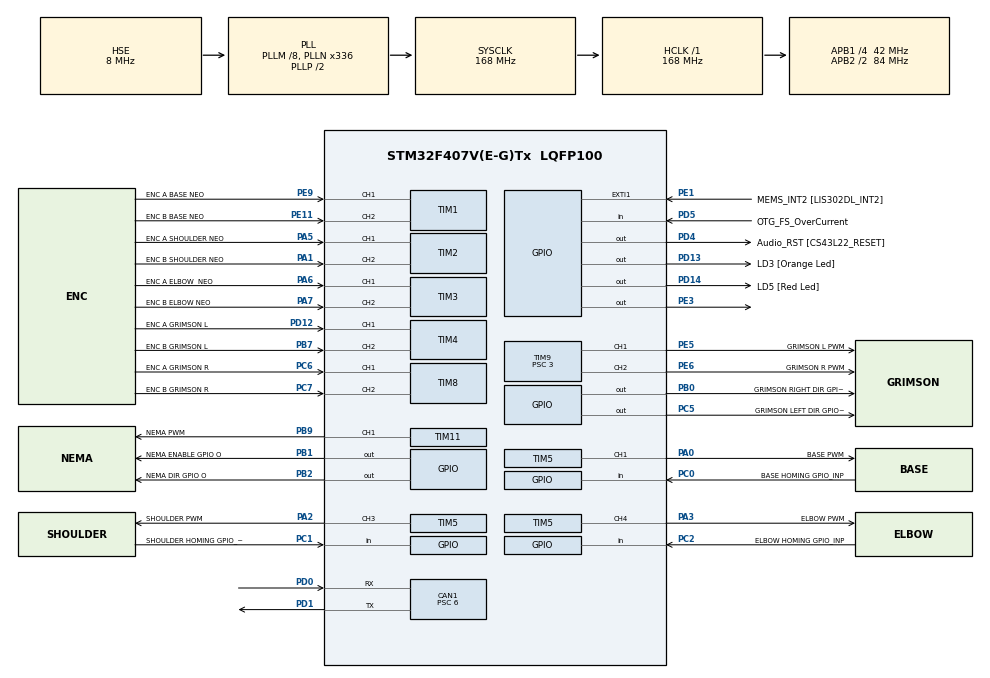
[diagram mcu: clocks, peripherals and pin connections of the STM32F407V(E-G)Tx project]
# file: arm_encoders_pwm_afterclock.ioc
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CAN1.BS1=CAN_BS1_12TQ
CAN1.CalculateBaudRate=500000
CAN1.CalculateTimeBit=2000
CAN1.CalculateTimeQuantum=142.85714285714286
CAN1.Prescaler=6
Mcu.Family=STM32F4
Mcu.Name=STM32F407V(E-G)Tx
Mcu.Package=LQFP100
NVIC.CAN1_RX0_IRQn=true\:0\:0\:false\:false\:true\:true\:true\:true
NVIC.PriorityGroup=NVIC_PRIORITYGROUP_0
PA0-WKUP.GPIO_Label=BASE PWM
PA0-WKUP.Signal=S_TIM5_CH1
PA1.GPIO_Label=ENC B SHOULDER NEO
PA1.Signal=S_TIM2_CH2
PA10.GPIO_Label=OTG_FS_ID
PA10.GPIO_Mode=GPIO_MODE_AF_PP
PA10.GPIO_PuPd=GPIO_NOPULL
PA10.GPIO_Speed=GPIO_SPEED_FREQ_LOW
PA10.Signal=USB_OTG_FS_ID
PA11.GPIO_Label=OTG_FS_DM
PA11.GPIO_Mode=GPIO_MODE_AF_PP
PA11.GPIO_PuPd=GPIO_NOPULL
PA11.GPIO_Speed=GPIO_SPEED_FREQ_LOW
PA11.Signal=USB_OTG_FS_DM
PA12.GPIO_Label=OTG_FS_DP
PA12.GPIO_Mode=GPIO_MODE_AF_PP
PA12.GPIO_PuPd=GPIO_NOPULL
PA12.GPIO_Speed=GPIO_SPEED_FREQ_LOW
PA12.Signal=USB_OTG_FS_DP
PA13.GPIO_Label=SWDIO
PA13.Mode=Serial_Wire
PA13.Signal=SYS_JTMS-SWDIO
PA14.GPIO_Label=SWCLK
PA14.Mode=Serial_Wire
PA14.Signal=SYS_JTCK-SWCLK
PA2.GPIO_Label=SHOULDER PWM
PA2.Signal=S_TIM5_CH3
PA3.GPIO_Label=ELBOW PWM
PA3.Signal=S_TIM5_CH4
PA5.GPIO_Label=ENC A SHOULDER NEO
PA5.Signal=S_TIM2_CH1_ETR
PA6.GPIO_Label=ENC A ELBOW  NEO
PA6.Signal=S_TIM3_CH1
PA7.GPIO_Label=ENC B ELBOW NEO
PA7.Signal=S_TIM3_CH2
PA9.GPIO_Label=VBUS_FS
PA9.GPIO_Mode=GPIO_MODE_INPUT
PA9.GPIO_PuPd=GPIO_NOPULL
PA9.Signal=USB_OTG_FS_VBUS
PB0.GPIO_Label=GRIMSON RIGHT DIR GPIO O
PB0.Signal=GPIO_Output
PB1.GPIO_Label=NEMA ENABLE GPIO O
PB1.PinState=GPIO_PIN_SET
PB1.Signal=GPIO_Output
PB2.GPIO_Label=NEMA DIR GPIO O
PB2.Signal=GPIO_Output
PB3.GPIO_Label=SWO
PB3.Signal=SYS_JTDO-SWO
PB6.GPIO_Label=Audio_SCL [CS43L22_SCL]
PB6.GPIO_Mode=GPIO_MODE_AF_OD
PB6.GPIO_Pu=GPIO_PULLUP
PB6.GPIO_PuPd=GPIO_NOPULL
PB6.GPIO_Speed=GPIO_SPEED_FREQ_LOW
PB6.Signal=I2C1_SCL
PB7.GPIO_Label=ENC B GRIMSON L
PB7.Signal=S_TIM4_CH2
PB9.GPIO_Label=NEMA PWM
PB9.Signal=S_TIM11_CH1
PC0.GPIO_Label=BASE HOMING GPIO_INP
PC0.GPIO_PuPd=GPIO_PULLDOWN
PC0.Signal=GPIO_Input
PC1.GPIO_Label=SHOULDER HOMING GPIO_INP
PC1.GPIO_PuPd=GPIO_PULLDOWN
PC1.Signal=GPIO_Input
PC14-OSC32_IN.GPIO_Label=PC14-OSC32_IN
PC14-OSC32_IN.Mode=LSE-External-Oscillator
PC14-OSC32_IN.Signal=RCC_OSC32_IN
PC15-OSC32_OUT.GPIO_Label=PC15-OSC32_OUT
PC15-OSC32_OUT.Mode=LSE-External-Oscillator
PC15-OSC32_OUT.Signal=RCC_OSC32_OUT
PC2.GPIO_Label=ELBOW HOMING GPIO_INP
PC2.GPIO_PuPd=GPIO_PULLDOWN
PC2.Signal=GPIO_Input
PC5.GPIO_Label=GRIMSON LEFT DIR GPIO O
PC5.Signal=GPIO_Output
PC6.GPIO_Label=ENC A GRIMSON R
PC6.Signal=S_TIM8_CH1
PC7.GPIO_Label=ENC B GRIMSON R
PC7.Signal=S_TIM8_CH2
PD0.Mode=CAN_Activate
PD0.Signal=CAN1_RX
PD1.Mode=CAN_Activate
PD1.Signal=CAN1_TX
PD12.GPIO_Label=ENC A GRIMSON L
PD12.Signal=S_TIM4_CH1
PD13.GPIO_Label=LD3 [Orange Led]
PD13.GPIO_PuPd=GPIO_NOPULL
PD13.GPIO_Speed=GPIO_SPEED_FREQ_LOW
PD13.Signal=GPIO_Output
PD14.GPIO_Label=LD5 [Red Led]
PD14.GPIO_PuPd=GPIO_NOPULL
PD14.GPIO_Speed=GPIO_SPEED_FREQ_LOW
PD14.Signal=GPIO_Output
PD4.GPIO_Label=Audio_RST [CS43L22_RESET]
PD4.GPIO_PuPd=GPIO_NOPULL
PD4.GPIO_Speed=GPIO_SPEED_FREQ_LOW
PD4.Signal=GPIO_Output
PD5.GPIO_Label=OTG_FS_OverCurrent
PD5.GPIO_Mode=GPIO_MODE_INPUT
PD5.GPIO_PuPd=GPIO_NOPULL
PD5.Signal=GPIO_Input
PE1.GPIO_Label=MEMS_INT2 [LIS302DL_INT2]
PE1.GPIO_ModeDefaultEXTI=GPIO_MODE_EVT_RISING
PE1.GPIO_PuPd=GPIO_NOPULL
PE1.Signal=GPXTI1
PE11.GPIO_Label=ENC B BASE NEO 
PE11.Signal=S_TIM1_CH2
PE3.Signal=GPIO_Output
PE5.GPIO_Label=GRIMSON L PWM
PE5.Signal=S_TIM9_CH1
PE6.GPIO_Label=GRIMSON R PWM
PE6.Signal=S_TIM9_CH2
PE9.GPIO_Label=ENC A BASE NEO
PE9.Signal=S_TIM1_CH1
PH0-OSC_IN.GPIO_Label=PH0-OSC_IN
PH0-OSC_IN.Mode=HSE-External-Oscillator
PH0-OSC_IN.Signal=RCC_OSC_IN
PH1-OSC_OUT.GPIO_Label=PH1-OSC_OUT
PH1-OSC_OUT.Mode=HSE-External-Oscillator
PH1-OSC_OUT.Signal=RCC_OSC_OUT
ProjectManager.HeapSize=0x200
ProjectManager.StackSize=0x400
ProjectManager.TargetToolchain=STM32CubeIDE
RCC.48MHZClocksFreq_Value=48000000
RCC.AHBFreq_Value=168000000
RCC.APB1CLKDivider=RCC_HCLK_DIV4
RCC.APB1Freq_Value=42000000
RCC.APB1TimFreq_Value=84000000
RCC.APB2CLKDivider=RCC_HCLK_DIV2
RCC.APB2Freq_Value=84000000
RCC.APB2TimFreq_Value=168000000
RCC.CortexFreq_Value=168000000
RCC.HCLKFreq_Value=168000000
RCC.HSE_VALUE=8000000
RCC.HSI_VALUE=16000000
RCC.PLLM=8
RCC.PLLN=336
RCC.PLLQ=7
RCC.PLLSourceVirtual=RCC_PLLSOURCE_HSE
RCC.SYSCLKFreq_VALUE=168000000
RCC.SYSCLKSource=RCC_SYSCLKSOURCE_PLLCLK
RCC.VCOOutputFreq_Value=336000000
SH.S_TIM11_CH1.0=TIM11_CH1,PWM Generation1 CH1
SH.S_TIM1_CH1.0=TIM1_CH1,Encoder_Interface
SH.S_TIM1_CH2.0=TIM1_CH2,Encoder_Interface
SH.S_TIM2_CH1_ETR.0=TIM2_CH1,Encoder_Interface
SH.S_TIM2_CH2.0=TIM2_CH2,Encoder_Interface
SH.S_TIM3_CH1.0=TIM3_CH1,Encoder_Interface
SH.S_TIM3_CH2.0=TIM3_CH2,Encoder_Interface
SH.S_TIM4_CH1.0=TIM4_CH1,Encoder_Interface
SH.S_TIM4_CH2.0=TIM4_CH2,Encoder_Interface
SH.S_TIM5_CH1.0=TIM5_CH1,PWM Generation1 CH1
SH.S_TIM5_CH3.0=TIM5_CH3,PWM Generation3 CH3
SH.S_TIM5_CH4.0=TIM5_CH4,PWM Generation4 CH4
SH.S_TIM8_CH1.0=TIM8_CH1,Encoder_Interface
SH.S_TIM8_CH2.0=TIM8_CH2,Encoder_Interface
SH.S_TIM9_CH1.0=TIM9_CH1,PWM Generation1 CH1
SH.S_TIM9_CH2.0=TIM9_CH2,PWM Generation2 CH2
TIM1.EncoderMode=TIM_ENCODERMODE_TI12
TIM11.AutoReloadPreload=TIM_AUTORELOAD_PRELOAD_ENABLE
TIM11.Channel=TIM_CHANNEL_1
TIM11.Period=999
TIM11.Prescaler=83
TIM11.Pulse=500
TIM2.EncoderMode=TIM_ENCODERMODE_TI12
TIM3.EncoderMode=TIM_ENCODERMODE_TI12
TIM4.EncoderMode=TIM_ENCODERMODE_TI12
TIM5.Channel-PWM\ Generation1\ CH1=TIM_CHANNEL_1
TIM5.Channel-PWM\ Generation3\ CH3=TIM_CHANNEL_3
TIM5.Channel-PWM\ Generation4\ CH4=TIM_CHANNEL_4
TIM5.Prescaler=83
TIM8.EncoderMode=TIM_ENCODERMODE_TI12
TIM9.Channel-PWM\ Generation1\ CH1=TIM_CHANNEL_1
TIM9.Channel-PWM\ Generation2\ CH2=TIM_CHANNEL_2
TIM9.Period=1049
TIM9.Prescaler=3
VP_TIM11_VS_ClockSourceINT.Mode=Enable_Timer
board=STM32F407G-DISC1

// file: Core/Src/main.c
/* USER CODE BEGIN Header */
/* USER CODE END Header */
#include "main.h"

/* USER CODE BEGIN Includes */
#include <string.h>
#include <math.h>
/* USER CODE END Includes */

CAN_HandleTypeDef hcan1;

TIM_HandleTypeDef htim1;
TIM_HandleTypeDef htim2;
TIM_HandleTypeDef htim3;
TIM_HandleTypeDef htim4;
TIM_HandleTypeDef htim5;
TIM_HandleTypeDef htim8;
TIM_HandleTypeDef htim9;
TIM_HandleTypeDef htim11;

void SystemClock_Config(void);
static void MX_GPIO_Init(void);
static void MX_CAN1_Init(void);
static void MX_TIM1_Init(void);
static void MX_TIM2_Init(void);
static void MX_TIM3_Init(void);
static void MX_TIM4_Init(void);
static void MX_TIM8_Init(void);
static void MX_TIM5_Init(void);
static void MX_TIM9_Init(void);
static void MX_TIM11_Init(void);

/* USER CODE BEGIN 0 */
// ========== ENUMERATIONS ==========
typedef enum {
  HOMING_IDLE,
  HOMING_IN_PROGRESS,
  HOMING_COMPLETE,
  HOMING_ERROR
} HomingState_t;

typedef enum {
  MOTOR_SPARK_MAX_PWM,
  MOTOR_H_BRIDGE,
  MOTOR_STEPPER
} MotorType_t;

typedef enum {
  MOTOR_MODE_IDLE,
  MOTOR_MODE_VELOCITY,
  MOTOR_MODE_POSITION,
  MOTOR_MODE_MANUAL
} MotorMode_t;

// ========== STRUCTURES ==========
typedef struct {
  int32_t velocity;
  int64_t position;
  int64_t home_position;
  uint32_t last_counter;
  TIM_HandleTypeDef *htim;

  // Index pulse homing parameters (ENC I)
  GPIO_TypeDef *index_port;
  uint16_t index_pin;
  HomingState_t homing_state;
  uint32_t homing_start_time;
  uint32_t homing_timeout_ms;

  // Index pulse detection
  uint8_t is_homed;
  uint8_t index_detected;
  uint8_t last_index_state;
  uint32_t index_pulse_count;

  char name[16];
  uint8_t enabled;
} Encoder_t;

typedef struct {
  MotorType_t type;
  MotorMode_t mode;

  // PWM Control
  TIM_HandleTypeDef *pwm_tim;
  uint32_t pwm_channel;

  // Direction Control (H-Bridge & Stepper)
  GPIO_TypeDef *dir_port;
  uint16_t dir_pin;

  // Enable Control (Stepper only)
  GPIO_TypeDef *enable_port;
  uint16_t enable_pin;

  // Control Parameters
  int32_t target_position;
  int16_t target_velocity;    // -1000 to +1000 (scaled)
  int16_t current_output;     // Current motor output

  // Position Control (PID)
  float kp, ki, kd;
  float error_sum;
  int32_t last_error;

  // Safety Limits
  int32_t min_position;
  int32_t max_position;
  int16_t max_velocity;

  // Stepper specific
  uint32_t step_count;
  uint32_t target_steps;
  uint16_t step_frequency;
  uint8_t is_moving;

  uint8_t enabled;
  char name[16];
} Motor_t;

// ========== GLOBAL ARRAYS ==========
Motor_t motors[6] = {
  // Base - NEO via Spark Max (TIM5_CH1, PA0)
  {MOTOR_SPARK_MAX_PWM, MOTOR_MODE_IDLE, &htim5, TIM_CHANNEL_1, NULL, 0, NULL, 0,
   0, 0, 0, 2.0f, 0.1f, 0.5f, 0, 0, -100000, 100000, 800, 0, 0, 1000, 0, 1, "Base"},

  // Shoulder - NEO via Spark Max (TIM5_CH3, PA2)
  {MOTOR_SPARK_MAX_PWM, MOTOR_MODE_IDLE, &htim5, TIM_CHANNEL_3, NULL, 0, NULL, 0,
   0, 0, 0, 2.0f, 0.1f, 0.5f, 0, 0, -80000, 80000, 800, 0, 0, 1000, 0, 1, "Shoulder"},

  // Elbow - NEO via Spark Max (TIM5_CH4, PA3)
  {MOTOR_SPARK_MAX_PWM, MOTOR_MODE_IDLE, &htim5, TIM_CHANNEL_4, NULL, 0, NULL, 0,
   0, 0, 0, 2.0f, 0.1f, 0.5f, 0, 0, -90000, 90000, 800, 0, 0, 1000, 0, 1, "Elbow"},

  // Wrist1 - Grimson via H-Bridge (TIM9_CH1, PE5 + PC5 direction)
  {MOTOR_H_BRIDGE, MOTOR_MODE_IDLE, &htim9, TIM_CHANNEL_1, GPIOC, GPIO_PIN_5, NULL, 0,
   0, 0, 0, 1.5f, 0.05f, 0.3f, 0, 0, -50000, 50000, 600, 0, 0, 1000, 0, 1, "Wrist1"},

  // Wrist2 - Grimson via H-Bridge (TIM9_CH2, PE6 + PB0 direction)
  {MOTOR_H_BRIDGE, MOTOR_MODE_IDLE, &htim9, TIM_CHANNEL_2, GPIOB, GPIO_PIN_0, NULL, 0,
   0, 0, 0, 1.5f, 0.05f, 0.3f, 0, 0, -50000, 50000, 600, 0, 0, 1000, 0, 1, "Wrist2"},

  // End Effector - Stepper (TIM11_CH1, PB9 + PB2 direction + PB1 enable)
  {MOTOR_STEPPER, MOTOR_MODE_IDLE, &htim11, TIM_CHANNEL_1, GPIOB, GPIO_PIN_2, GPIOB, GPIO_PIN_1,
   0, 0, 0, 0, 0, 0, 0, 0, -10000, 10000, 200, 0, 0, 1000, 0, 1, "Stepper"}
};

Encoder_t encoders[5] = {
  {0, 0, 0, 0, &htim1, GPIOC, GPIO_PIN_0, HOMING_IDLE, 0, 10000, 0, 0, 0, 0, "Base", 1},
  {0, 0, 0, 0, &htim2, GPIOC, GPIO_PIN_1, HOMING_IDLE, 0, 10000, 0, 0, 0, 0, "Shoulder", 1},
  {0, 0, 0, 0, &htim3, GPIOC, GPIO_PIN_2, HOMING_IDLE, 0, 10000, 0, 0, 0, 0, "Elbow", 1},
  {0, 0, 0, 0, &htim4, NULL, 0, HOMING_IDLE, 0, 10000, 0, 0, 0, 0, "Wrist1", 1},
  {0, 0, 0, 0, &htim8, NULL, 0, HOMING_IDLE, 0, 10000, 0, 0, 0, 0, "Wrist2", 1}
};

// ========== GLOBAL VARIABLES ==========
CAN_TxHeaderTypeDef TxHeader;
uint8_t TxData[8];
uint32_t TxMailbox;

uint32_t last_encoder_send = 0;
uint32_t last_status_send = 0;
uint32_t last_debug_send = 0;
uint32_t last_motor_update = 0;
uint32_t last_motor_status_send = 0;

// Add missing global variables
uint32_t last_watchdog_reset = 0;
uint8_t system_initialized = 0;
uint8_t can_error_count = 0;
uint8_t emergency_stop_active = 0;

// ========== FUNCTION PROTOTYPES ==========
void SystemInit_RobotArm(void);
void MainControlLoop(void);
void InitializeMotors(void);
void InitializeEncoders(void);
void InitializeCAN(void);
void SetMotorOutput(uint8_t motor_id, int16_t output);
int32_t CalculatePID(Motor_t *motor, int32_t current_position);
void UpdateMotor(uint8_t motor_id);
void SetMotorVelocity(uint8_t motor_id, int16_t velocity);
void SetMotorPosition(uint8_t motor_id, int32_t position);
void SetStepperFrequency(uint16_t frequency_hz);
void MoveStepperSteps(int32_t steps, uint16_t frequency);
void EmergencyStopAllMotors(void);
void ClearEmergencyStop(void);
void SendMotorStatus(void);
void UpdateEncoder(Encoder_t *enc);
void UpdateIndexPulse(Encoder_t *enc);
void StartHoming(uint8_t encoder_id);
void ProcessHoming(uint8_t encoder_id);
void SendEncoderData(uint8_t encoder_id, Encoder_t *enc);
void SendSystemStatus(void);
void SendDebugInfo(void);

// New debug functions for Motor 0
void TestMotor0PWM(void);
void DebugMotor0(void);
void VerifyTIM5_Config(void);
void Force_TIM5_Init(void);

// ========== MOTOR CONTROL FUNCTIONS ==========
void InitializeMotors(void) {
    // Force proper TIM5 initialization first
    Force_TIM5_Init();

    // Start PWM timers for motor control
    HAL_TIM_PWM_Start(&htim5, TIM_CHANNEL_1);  // Base NEO
    HAL_TIM_PWM_Start(&htim5, TIM_CHANNEL_3);  // Shoulder NEO
    HAL_TIM_PWM_Start(&htim5, TIM_CHANNEL_4);  // Elbow NEO
    HAL_TIM_PWM_Start(&htim9, TIM_CHANNEL_1);  // Wrist1 Grimson
    HAL_TIM_PWM_Start(&htim9, TIM_CHANNEL_2);  // Wrist2 Grimson
    HAL_TIM_PWM_Start_IT(&htim11, TIM_CHANNEL_1); // Stepper with interrupt for step counting

    // Initialize all motors to safe states
    for(int i = 0; i < 6; i++) {
        SetMotorOutput(i, 0);
        motors[i].error_sum = 0;
        motors[i].last_error = 0;
    }

    // Set all NEO motors to neutral position
    __HAL_TIM_SET_COMPARE(&htim5, TIM_CHANNEL_1, 1500);  // Motor 0
    __HAL_TIM_SET_COMPARE(&htim5, TIM_CHANNEL_3, 1500);  // Motor 1
    __HAL_TIM_SET_COMPARE(&htim5, TIM_CHANNEL_4, 1500);  // Motor 2
}

void SetMotorOutput(uint8_t motor_id, int16_t output) {
    if (motor_id >= 6 || !motors[motor_id].enabled || emergency_stop_active) return;

    Motor_t *motor = &motors[motor_id];

    // Apply velocity limits
    if (output > motor->max_velocity) output = motor->max_velocity;
    if (output < -motor->max_velocity) output = -motor->max_velocity;

    motor->current_output = output;

    switch(motor->type) {
        case MOTOR_SPARK_MAX_PWM:
            {
                // NEO Motor: 50Hz PWM servo signal (1000-2000μs)
                // Map -1000:+1000 input to 1000-2000μs pulse width
                int32_t pulse_width = 1500 + (output * 500 / 1000);

                // Clamp to safe range
                if (pulse_width < 1000) pulse_width = 1000;
                if (pulse_width > 2000) pulse_width = 2000;

                // Set compare value (TIM5 ARR should be 19999 for 50Hz)
                __HAL_TIM_SET_COMPARE(motor->pwm_tim, motor->pwm_channel, pulse_width);
            }
            break;

        case MOTOR_H_BRIDGE:
            {
                // H-Bridge: PWM + Direction (20kHz)
                uint16_t pwm_value = (output < 0) ? -output : output;
                pwm_value = (pwm_value > 1000) ? 1000 : pwm_value;

                // Set direction pin
                HAL_GPIO_WritePin(motor->dir_port, motor->dir_pin, (output >= 0) ? GPIO_PIN_SET : GPIO_PIN_RESET);

                // Set PWM duty cycle (TIM9 ARR = 1049 for 20kHz)
                uint32_t compare_value = (pwm_value * 1049) / 1000;
                __HAL_TIM_SET_COMPARE(motor->pwm_tim, motor->pwm_channel, compare_value);
            }
            break;

        case MOTOR_STEPPER:
            {
                // Stepper: Set direction and enable/disable
                if (motor->dir_port != NULL) {
                    HAL_GPIO_WritePin(motor->dir_port, motor->dir_pin, (output >= 0) ? GPIO_PIN_SET : GPIO_PIN_RESET);
                }

                if (output != 0 && motor->enable_port != NULL) {
                    // Enable stepper (active LOW)
                    HAL_GPIO_WritePin(motor->enable_port, motor->enable_pin, GPIO_PIN_RESET);

                    // Set PWM for step generation
                    uint16_t arr = __HAL_TIM_GET_AUTORELOAD(motor->pwm_tim);
                    __HAL_TIM_SET_COMPARE(motor->pwm_tim, motor->pwm_channel, arr / 2);
                } else if (motor->enable_port != NULL) {
                    // Disable stepper and stop PWM
                    HAL_GPIO_WritePin(motor->enable_port, motor->enable_pin, GPIO_PIN_SET);
                    __HAL_TIM_SET_COMPARE(motor->pwm_tim, motor->pwm_channel, 0);
                }
            }
            break;
    }
}

int32_t CalculatePID(Motor_t *motor, int32_t current_position) {
    int32_t error = motor->target_position - current_position;
    motor->error_sum += error;

    // Anti-windup
    if (motor->error_sum > 50000) motor->error_sum = 50000;
    if (motor->error_sum < -50000) motor->error_sum = -50000;

    int32_t derivative = error - motor->last_error;
    motor->last_error = error;

    float output = motor->kp * error + motor->ki * motor->error_sum + motor->kd * derivative;

    // Limit output
    if (output > 1000) output = 1000;
    if (output < -1000) output = -1000;

    return (int32_t)output;
}

void UpdateMotor(uint8_t motor_id) {
    if (motor_id >= 6 || !motors[motor_id].enabled) return;

    Motor_t *motor = &motors[motor_id];
    int32_t current_position = 0;

    // Get encoder feedback (if available)
    if (motor_id < 5) {
        current_position = encoders[motor_id].position;

        // Check position limits
        if (current_position < motor->min_position || current_position > motor->max_position) {
            // Position limit reached - stop motor
            motor->mode = MOTOR_MODE_IDLE;
            SetMotorOutput(motor_id, 0);
            return;
        }
    }

    switch(motor->mode) {
        case MOTOR_MODE_IDLE:
            SetMotorOutput(motor_id, 0);
            break;

        case MOTOR_MODE_VELOCITY:
            SetMotorOutput(motor_id, motor->target_velocity);
            break;

        case MOTOR_MODE_POSITION:
            {
                int32_t pid_output = CalculatePID(motor, current_position);
                SetMotorOutput(motor_id, (int16_t)pid_output);
            }
            break;

        case MOTOR_MODE_MANUAL:
            // Manual mode - output set directly via CAN commands
            break;
    }

    // Update stepper step counting
    if (motor_id == 5 && motor->type == MOTOR_STEPPER && motor->is_moving) {
        if (motor->step_count >= motor->target_steps) {
            motor->is_moving = 0;
            SetMotorOutput(5, 0);
        }
    }
}

void SetMotorVelocity(uint8_t motor_id, int16_t velocity) {
    if (motor_id >= 6) return;
    motors[motor_id].mode = MOTOR_MODE_VELOCITY;
    motors[motor_id].target_velocity = velocity;
}

void SetMotorPosition(uint8_t motor_id, int32_t position) {
    if (motor_id >= 6) return;
    motors[motor_id].mode = MOTOR_MODE_POSITION;
    motors[motor_id].target_position = position;
    motors[motor_id].error_sum = 0;  // Reset integral term
}

void SetStepperFrequency(uint16_t frequency_hz) {
    if (frequency_hz < 10) frequency_hz = 10;
    if (frequency_hz > 10000) frequency_hz = 10000;

    // Calculate ARR for desired frequency (1MHz timer clock)
    uint16_t arr_value = (1000000 / frequency_hz) - 1;

    __HAL_TIM_SET_AUTORELOAD(&htim11, arr_value);
    __HAL_TIM_SET_COMPARE(&htim11, TIM_CHANNEL_1, arr_value / 2);

    motors[5].step_frequency = frequency_hz;
}

void MoveStepperSteps(int32_t steps, uint16_t frequency) {
    if (steps == 0) return;

    Motor_t *stepper = &motors[5];

    // Set frequency and direction
    SetStepperFrequency(frequency);
    stepper->target_steps = (steps > 0) ? steps : -steps;
    stepper->step_count = 0;
    stepper->is_moving = 1;

    // Set direction and enable
    SetMotorOutput(5, (steps > 0) ? 500 : -500);
}

void EmergencyStopAllMotors(void) {
    emergency_stop_active = 1;
    for(int i = 0; i < 6; i++) {
        motors[i].mode = MOTOR_MODE_IDLE;
        SetMotorOutput(i, 0);
    }
}

void ClearEmergencyStop(void) {
    emergency_stop_active = 0;
}

void SendMotorStatus(void) {
    TxHeader.StdId = 0x210;
    TxHeader.IDE = CAN_ID_STD;
    TxHeader.RTR = CAN_RTR_DATA;
    TxHeader.DLC = 8;

    for (int i = 0; i < 6; i++) {
        TxData[i] = (motors[i].mode << 4) |
                    (motors[i].enabled << 3) |
                    ((motors[i].current_output > 0) << 2) |
                    ((motors[i].current_output < 0) << 1) |
                    (motors[i].is_moving);
    }
    TxData[6] = emergency_stop_active ? 0xFF : 0xBB;  // Motor status marker
    TxData[7] = 0xCC;

    HAL_CAN_AddTxMessage(&hcan1, &TxHeader, TxData, &TxMailbox);
}

// ========== ENCODER FUNCTIONS ==========
void InitializeEncoders(void) {
    // Start encoder timers in encoder mode
    HAL_TIM_Encoder_Start(&htim1, TIM_CHANNEL_ALL);  // Base
    HAL_TIM_Encoder_Start(&htim2, TIM_CHANNEL_ALL);  // Shoulder
    HAL_TIM_Encoder_Start(&htim3, TIM_CHANNEL_ALL);  // Elbow
    HAL_TIM_Encoder_Start(&htim4, TIM_CHANNEL_ALL);  // Wrist1
    HAL_TIM_Encoder_Start(&htim8, TIM_CHANNEL_ALL);  // Wrist2

    // Initialize encoder positions
    for (int i = 0; i < 5; i++) {
        encoders[i].last_counter = __HAL_TIM_GET_COUNTER(encoders[i].htim);
        encoders[i].position = 0;
        encoders[i].velocity = 0;
    }
}

void UpdateEncoder(Encoder_t *enc) {
  if (!enc->enabled) return;

  uint32_t current = __HAL_TIM_GET_COUNTER(enc->htim);

  int32_t delta;
  if (enc->htim->Instance == TIM2) {
    // TIM2 is 32-bit timer
    delta = (int32_t)(current - enc->last_counter);
  } else {
    // 16-bit timers
    delta = (int16_t)(current - enc->last_counter);
  }

  enc->last_counter = current;
  enc->velocity = delta;
  enc->position += delta;
}

void UpdateIndexPulse(Encoder_t *enc) {
  if (!enc->enabled || enc->index_port == NULL) return;

  GPIO_PinState pin_state = HAL_GPIO_ReadPin(enc->index_port, enc->index_pin);
  uint8_t current_index = (pin_state == GPIO_PIN_SET) ? 1 : 0;

  if (current_index && !enc->last_index_state) {
    enc->index_detected = 1;
    enc->index_pulse_count++;

    if (enc->homing_state == HOMING_IN_PROGRESS) {
      enc->home_position = enc->position;
      enc->position = 0;
      enc->homing_state = HOMING_COMPLETE;
      enc->is_homed = 1;
    }
  } else {
    enc->index_detected = 0;
  }

  enc->last_index_state = current_index;
}

void StartHoming(uint8_t encoder_id) {
  if (encoder_id >= 5) return;

  Encoder_t *enc = &encoders[encoder_id];
  if (!enc->enabled || enc->index_port == NULL || enc->is_homed) return;

  enc->homing_state = HOMING_IN_PROGRESS;
  enc->homing_start_time = HAL_GetTick();
  enc->is_homed = 0;
  enc->index_pulse_count = 0;

  // Set motor to slow velocity mode for homing
  SetMotorVelocity(encoder_id, 100);  // Slow positive velocity
}

void ProcessHoming(uint8_t encoder_id) {
  if (encoder_id >= 5) return;

  Encoder_t *enc = &encoders[encoder_id];
  if (!enc->enabled || enc->homing_state != HOMING_IN_PROGRESS) return;

  if (HAL_GetTick() - enc->homing_start_time > enc->homing_timeout_ms) {
    enc->homing_state = HOMING_ERROR;
    motors[encoder_id].mode = MOTOR_MODE_IDLE;
    SetMotorOutput(encoder_id, 0);
  }
}

void SendEncoderData(uint8_t encoder_id, Encoder_t *enc) {
  if (!enc->enabled) return;

  int32_t pos = (int32_t)(enc->position & 0xFFFFFFFF);
  int32_t vel = enc->velocity;

  TxHeader.StdId = 0x100 + encoder_id;
  TxHeader.IDE = CAN_ID_STD;
  TxHeader.RTR = CAN_RTR_DATA;
  TxHeader.DLC = 8;

  TxData[0] = (pos >> 24) & 0xFF;
  TxData[1] = (pos >> 16) & 0xFF;
  TxData[2] = (pos >> 8) & 0xFF;
  TxData[3] = pos & 0xFF;

  TxData[4] = (vel >> 24) & 0xFF;
  TxData[5] = (vel >> 16) & 0xFF;
  TxData[6] = (vel >> 8) & 0xFF;
  TxData[7] = vel & 0xFF;

  HAL_CAN_AddTxMessage(&hcan1, &TxHeader, TxData, &TxMailbox);
}

void SendSystemStatus(void) {
  TxHeader.StdId = 0x200;
  TxHeader.IDE = CAN_ID_STD;
  TxHeader.RTR = CAN_RTR_DATA;
  TxHeader.DLC = 8;

  for (int i = 0; i < 5; i++) {
    TxData[i] = (encoders[i].homing_state << 4) |
                (encoders[i].is_homed << 3) |
                (encoders[i].index_detected << 2) |
                (encoders[i].enabled << 1);
  }
  TxData[5] = 0xAA;  // Heartbeat
  TxData[6] = encoders[0].index_pulse_count & 0xFF;
  TxData[7] = 0x55;  // Status marker

  HAL_CAN_AddTxMessage(&hcan1, &TxHeader, TxData, &TxMailbox);
}

void SendDebugInfo(void) {
  Encoder_t *enc = &encoders[0];
  if (!enc->enabled) return;

  TxHeader.StdId = 0x201;
  TxHeader.IDE = CAN_ID_STD;
  TxHeader.RTR = CAN_RTR_DATA;
  TxHeader.DLC = 8;

  uint32_t raw_timer = __HAL_TIM_GET_COUNTER(enc->htim);
  uint8_t index_pin_state = HAL_GPIO_ReadPin(enc->index_port, enc->index_pin);

  TxData[0] = (raw_timer >> 8) & 0xFF;
  TxData[1] = raw_timer & 0xFF;
  TxData[2] = index_pin_state;
  TxData[3] = enc->last_index_state;
  TxData[4] = enc->homing_state;
  TxData[5] = (enc->index_pulse_count >> 8) & 0xFF;
  TxData[6] = enc->index_pulse_count & 0xFF;
  TxData[7] = enc->enabled;

  HAL_CAN_AddTxMessage(&hcan1, &TxHeader, TxData, &TxMailbox);
}

// ========== CAN FUNCTIONS ==========
void InitializeCAN(void) {
    CAN_FilterTypeDef sFilterConfig;

    // Configure CAN filter
    sFilterConfig.FilterBank = 0;
    sFilterConfig.FilterMode = CAN_FILTERMODE_IDMASK;
    sFilterConfig.FilterScale = CAN_FILTERSCALE_32BIT;
    sFilterConfig.FilterIdHigh = 0x0000;
    sFilterConfig.FilterIdLow = 0x0000;
    sFilterConfig.FilterMaskIdHigh = 0x0000;
    sFilterConfig.FilterMaskIdLow = 0x0000;
    sFilterConfig.FilterFIFOAssignment = CAN_RX_FIFO0;
    sFilterConfig.FilterActivation = ENABLE;
    sFilterConfig.SlaveStartFilterBank = 14;

    if (HAL_CAN_ConfigFilter(&hcan1, &sFilterConfig) != HAL_OK) {
        Error_Handler();
    }

    // Start CAN
    if (HAL_CAN_Start(&hcan1) != HAL_OK) {
        Error_Handler();
    }

    // Activate CAN RX notification
    if (HAL_CAN_ActivateNotification(&hcan1, CAN_IT_RX_FIFO0_MSG_PENDING) != HAL_OK) {
        Error_Handler();
    }
}

// ========== DEBUG FUNCTIONS FOR MOTOR 0 ==========
void TestMotor0PWM(void) {
    // Test 1: Direct GPIO toggle
    GPIO_InitTypeDef GPIO_InitStruct = {0};

    // Configure PA0 as GPIO output first
    HAL_TIM_PWM_Stop(&htim5, TIM_CHANNEL_1);

    GPIO_InitStruct.Pin = GPIO_PIN_0;
    GPIO_InitStruct.Mode = GPIO_MODE_OUTPUT_PP;
    GPIO_InitStruct.Pull = GPIO_NOPULL;
    GPIO_InitStruct.Speed = GPIO_SPEED_FREQ_HIGH;
    HAL_GPIO_Init(GPIOA, &GPIO_InitStruct);

    // Toggle PA0 manually
    for(int i = 0; i < 10; i++) {
        HAL_GPIO_WritePin(GPIOA, GPIO_PIN_0, GPIO_PIN_SET);
        HAL_Delay(100);
        HAL_GPIO_WritePin(GPIOA, GPIO_PIN_0, GPIO_PIN_RESET);
        HAL_Delay(100);
    }

    // Reconfigure for PWM
    GPIO_InitStruct.Mode = GPIO_MODE_AF_PP;
    GPIO_InitStruct.Alternate = GPIO_AF2_TIM5;
    HAL_GPIO_Init(GPIOA, &GPIO_InitStruct);

    // Restart PWM
    HAL_TIM_PWM_Start(&htim5, TIM_CHANNEL_1);
}

void DebugMotor0(void) {
    // Send comprehensive motor 0 status
    TxHeader.StdId = 0x380;
    TxHeader.IDE = CAN_ID_STD;
    TxHeader.RTR = CAN_RTR_DATA;
    TxHeader.DLC = 8;

    // Get timer values
    uint16_t tim5_cnt = __HAL_TIM_GET_COUNTER(&htim5);
    uint16_t tim5_arr = __HAL_TIM_GET_AUTORELOAD(&htim5);
    uint16_t tim5_ccr1 = __HAL_TIM_GET_COMPARE(&htim5, TIM_CHANNEL_1);

    TxData[0] = motors[0].enabled;
    TxData[1] = motors[0].mode;
    TxData[2] = (motors[0].current_output >> 8) & 0xFF;
    TxData[3] = motors[0].current_output & 0xFF;
    TxData[4] = (tim5_ccr1 >> 8) & 0xFF;
    TxData[5] = tim5_ccr1 & 0xFF;
    TxData[6] = (tim5_arr >> 8) & 0xFF;
    TxData[7] = tim5_arr & 0xFF;

    HAL_CAN_AddTxMessage(&hcan1, &TxHeader, TxData, &TxMailbox);
}

void VerifyTIM5_Config(void) {
    // Check if TIM5 is running
    if (__HAL_TIM_GET_COUNTER(&htim5) == 0) {
        // Timer not running - restart it
        HAL_TIM_PWM_Stop(&htim5, TIM_CHANNEL_1);
        HAL_TIM_PWM_Stop(&htim5, TIM_CHANNEL_3);
        HAL_TIM_PWM_Stop(&htim5, TIM_CHANNEL_4);

        // Reinitialize
        MX_TIM5_Init();

        // Start all channels
        HAL_TIM_PWM_Start(&htim5, TIM_CHANNEL_1);
        HAL_TIM_PWM_Start(&htim5, TIM_CHANNEL_3);
        HAL_TIM_PWM_Start(&htim5, TIM_CHANNEL_4);
    }

    // Set neutral position on all NEO motors
    __HAL_TIM_SET_COMPARE(&htim5, TIM_CHANNEL_1, 1500);  // Motor 0
    __HAL_TIM_SET_COMPARE(&htim5, TIM_CHANNEL_3, 1500);  // Motor 1
    __HAL_TIM_SET_COMPARE(&htim5, TIM_CHANNEL_4, 1500);  // Motor 2
}

void Force_TIM5_Init(void) {
    // Manually initialize TIM5 for PWM with correct settings

    // Stop the timer first
    HAL_TIM_PWM_Stop(&htim5, TIM_CHANNEL_1);
    HAL_TIM_PWM_Stop(&htim5, TIM_CHANNEL_3);
    HAL_TIM_PWM_Stop(&htim5, TIM_CHANNEL_4);

    // Reconfigure with correct period
    htim5.Init.Prescaler = 83;          // 84MHz/84 = 1MHz
    htim5.Init.Period = 19999;          // 1MHz/20000 = 50Hz (THIS IS THE FIX!)
    htim5.Init.CounterMode = TIM_COUNTERMODE_UP;
    htim5.Init.ClockDivision = TIM_CLOCKDIVISION_DIV1;
    htim5.Init.AutoReloadPreload = TIM_AUTORELOAD_PRELOAD_ENABLE;

    if (HAL_TIM_Base_Init(&htim5) != HAL_OK) {
        Error_Handler();
    }

    // Configure PWM mode
    TIM_OC_InitTypeDef sConfigOC = {0};
    sConfigOC.OCMode = TIM_OCMODE_PWM1;
    sConfigOC.Pulse = 1500;  // Initial neutral position
    sConfigOC.OCPolarity = TIM_OCPOLARITY_HIGH;
    sConfigOC.OCFastMode = TIM_OCFAST_DISABLE;

    // Channel 1 (PA0)
    if (HAL_TIM_PWM_ConfigChannel(&htim5, &sConfigOC, TIM_CHANNEL_1) != HAL_OK) {
        Error_Handler();
    }

    // Channel 3 (PA2)
    if (HAL_TIM_PWM_ConfigChannel(&htim5, &sConfigOC, TIM_CHANNEL_3) != HAL_OK) {
        Error_Handler();
    }

    // Channel 4 (PA3)
    if (HAL_TIM_PWM_ConfigChannel(&htim5, &sConfigOC, TIM_CHANNEL_4) != HAL_OK) {
        Error_Handler();
    }
}

// ========== CAN CALLBACK FUNCTION ==========
void HAL_CAN_RxFifo0MsgPendingCallback(CAN_HandleTypeDef *hcan) {
  CAN_RxHeaderTypeDef RxHeader;
  uint8_t RxData[8];

  if (HAL_CAN_GetRxMessage(hcan, CAN_RX_FIFO0, &RxHeader, RxData) == HAL_OK) {
    switch (RxHeader.StdId) {
      case 0x301:  // Start individual homing
        if (RxData[0] < 5) {
          StartHoming(RxData[0]);
        }
        break;

      case 0x302:  // Reset encoder position
        if (RxData[0] < 5 && encoders[RxData[0]].enabled) {
          encoders[RxData[0]].position = 0;
          encoders[RxData[0]].home_position = 0;
        }
        break;

      case 0x303:  // Enable/disable encoder
        if (RxData[0] < 5) {
          encoders[RxData[0]].enabled = RxData[1] ? 1 : 0;
        }
        break;

      case 0x310:  // Set motor velocity [motor_id][velocity_high][velocity_low][reserved...]
        if (RxData[0] < 6) {
          int16_t velocity = (int16_t)((RxData[1] << 8) | RxData[2]);
          SetMotorVelocity(RxData[0], velocity);
        }
        break;

      case 0x311:  // Set motor position [motor_id][pos_byte3][pos_byte2][pos_byte1][pos_byte0][reserved...]
        if (RxData[0] < 6) {
          int32_t position = (int32_t)((RxData[1] << 24) | (RxData[2] << 16) | (RxData[3] << 8) | RxData[4]);
          SetMotorPosition(RxData[0], position);
        }
        break;

      case 0x312:  // Emergency stop all motors
        EmergencyStopAllMotors();
        break;

      case 0x313:  // Enable/disable motor [motor_id][enable][reserved...]
        if (RxData[0] < 6) {
          motors[RxData[0]].enabled = RxData[1] ? 1 : 0;
          if (!motors[RxData[0]].enabled) {
            motors[RxData[0]].mode = MOTOR_MODE_IDLE;
            SetMotorOutput(RxData[0], 0);
          }
        }
        break;

      case 0x314:  // Set PID gains [motor_id][kp*10][ki*100][kd*10][reserved...]
        if (RxData[0] < 6) {
          motors[RxData[0]].kp = RxData[1] / 10.0f;
          motors[RxData[0]].ki = RxData[2] / 100.0f;
          motors[RxData[0]].kd = RxData[3] / 10.0f;
        }
        break;

      case 0x315:  // Coordinated joint movement [j0_high][j0_low][j1_high][j1_low][j2_high][j2_low][reserved...]
        {
          int16_t joint_pos[3];
          joint_pos[0] = (int16_t)((RxData[0] << 8) | RxData[1]); // Base
          joint_pos[1] = (int16_t)((RxData[2] << 8) | RxData[3]); // Shoulder
          joint_pos[2] = (int16_t)((RxData[4] << 8) | RxData[5]); // Elbow

          for(int i = 0; i < 3; i++) {
            SetMotorPosition(i, joint_pos[i] * 100);
          }
        }
        break;

      case 0x316:  // Stepper move [steps_high][steps_low][freq_high][freq_low][reserved...]
        {
          int16_t steps = (int16_t)((RxData[0] << 8) | RxData[1]);
          uint16_t freq = (uint16_t)((RxData[2] << 8) | RxData[3]);
          MoveStepperSteps(steps, freq);
        }
        break;

      case 0x317:  // Clear emergency stop
        ClearEmergencyStop();
        break;

      case 0x318:  // Manual motor control [motor_id][output_high][output_low][reserved...]
        if (RxData[0] < 6) {
          int16_t output = (int16_t)((RxData[1] << 8) | RxData[2]);
          motors[RxData[0]].mode = MOTOR_MODE_MANUAL;
          SetMotorOutput(RxData[0], output);
        }
        break;

      case 0x319:  // Set position limits [motor_id][min_high][min_low][max_high][max_low][reserved...]
        if (RxData[0] < 6) {
          int16_t min_limit = (int16_t)((RxData[1] << 8) | RxData[2]);
          int16_t max_limit = (int16_t)((RxData[3] << 8) | RxData[4]);
          motors[RxData[0]].min_position = min_limit * 100;
          motors[RxData[0]].max_position = max_limit * 100;
        }
        break;

      case 0x320:  // Home all axes
        for (int i = 0; i < 3; i++) {  // Only home Base, Shoulder, Elbow
          if (encoders[i].index_port != NULL) {
            StartHoming(i);
          }
        }
        break;

      case 0x360:  // Motor 0 debug commands
        switch(RxData[0]) {
            case 0x01:  // Test GPIO toggle
                TestMotor0PWM();
                break;

            case 0x02:  // Send motor 0 debug info
                DebugMotor0();
                break;

            case 0x03:  // Verify TIM5
                VerifyTIM5_Config();
                break;

            case 0x04:  // Force PWM output
                __HAL_TIM_SET_COMPARE(&htim5, TIM_CHANNEL_1, RxData[1] << 8 | RxData[2]);
                break;

            case 0x05:  // Force neutral (1500us)
                __HAL_TIM_SET_COMPARE(&htim5, TIM_CHANNEL_1, 1500);
                break;
        }
        break;
    }
  }
}

// ========== SYSTEM INITIALIZATION ==========
void SystemInit_RobotArm(void) {
    // Initialize all subsystems
    InitializeCAN();
    InitializeEncoders();
    InitializeMotors();

    // System is ready
    system_initialized = 1;

    // Blink LED to indicate system ready
    for (int i = 0; i < 3; i++) {
        HAL_GPIO_TogglePin(LD5_GPIO_Port, LD5_Pin);  // Using board LED
        HAL_Delay(200);
    }
}

// ========== MAIN CONTROL LOOP ==========
void MainControlLoop(void) {
    uint32_t current_time = HAL_GetTick();

    // 1kHz Motor Update (1ms)
    if (current_time - last_motor_update >= 1) {
        last_motor_update = current_time;

        // Update all encoders
        for (int i = 0; i < 5; i++) {
            UpdateEncoder(&encoders[i]);
            UpdateIndexPulse(&encoders[i]);
            ProcessHoming(i);
        }

        // Update all motors
        for (int i = 0; i < 6; i++) {
            UpdateMotor(i);
        }
    }

    // 50Hz Encoder Data Send (20ms)
    if (current_time - last_encoder_send >= 20) {
        last_encoder_send = current_time;

        for (int i = 0; i < 5; i++) {
            SendEncoderData(i, &encoders[i]);
        }
    }

    // 10Hz Motor Status Send (100ms)
    if (current_time - last_motor_status_send >= 100) {
        last_motor_status_send = current_time;
        SendMotorStatus();
    }

    // 2Hz System Status (500ms)
    if (current_time - last_status_send >= 500) {
        last_status_send = current_time;
        SendSystemStatus();

        // Toggle heartbeat LED
        HAL_GPIO_TogglePin(LD3_GPIO_Port, LD3_Pin);
    }

    // 1Hz Debug Info (1000ms)
    if (current_time - last_debug_send >= 1000) {
        last_debug_send = current_time;
        SendDebugInfo();
    }

    // Watchdog reset (100ms)
    if (current_time - last_watchdog_reset >= 100) {
        last_watchdog_reset = current_time;
        // HAL_IWDG_Refresh(&hiwdg);  // Uncomment if using watchdog
    }
}

// ========== INTERRUPT HANDLERS ==========
// Stepper step counting interrupt
void HAL_TIM_PWM_PulseFinishedCallback(TIM_HandleTypeDef *htim) {
    if (htim == &htim11) {
        // Count stepper steps
        if (motors[5].is_moving) {
            motors[5].step_count++;
            if (motors[5].step_count >= motors[5].target_steps) {
                motors[5].is_moving = 0;
                SetMotorOutput(5, 0);
            }
        }
    }
}

/* USER CODE END 0 */

int main(void)
{

  /* MCU Configuration--------------------------------------------------------*/

  /* Reset of all peripherals, Initializes the Flash interface and the Systick. */
  HAL_Init();

  /* Configure the system clock */
  SystemClock_Config();

  /* Initialize all configured peripherals */
  MX_GPIO_Init();
  MX_CAN1_Init();
  MX_TIM1_Init();
  MX_TIM2_Init();
  MX_TIM3_Init();
  MX_TIM4_Init();
  MX_TIM8_Init();
  MX_TIM5_Init();
  MX_TIM9_Init();
  MX_TIM11_Init();
  /* USER CODE BEGIN 2 */
  // Initialize robot arm system
  SystemInit_RobotArm();
  /* USER CODE END 2 */

  /* Infinite loop */
  /* USER CODE BEGIN WHILE */
  while (1)
  {
    MainControlLoop();
    /* USER CODE END WHILE */

  }
}

void SystemClock_Config(void)
{
  RCC_OscInitTypeDef RCC_OscInitStruct = {0};
  RCC_ClkInitTypeDef RCC_ClkInitStruct = {0};

  /** Configure the main internal regulator output voltage
  */
  __HAL_RCC_PWR_CLK_ENABLE();
  __HAL_PWR_VOLTAGESCALING_CONFIG(PWR_REGULATOR_VOLTAGE_SCALE1);

  /** Initializes the RCC Oscillators according to the specified parameters
  * in the RCC_OscInitTypeDef structure.
  */
  RCC_OscInitStruct.OscillatorType = RCC_OSCILLATORTYPE_HSE;
  RCC_OscInitStruct.HSEState = RCC_HSE_ON;
  RCC_OscInitStruct.PLL.PLLState = RCC_PLL_ON;
  RCC_OscInitStruct.PLL.PLLSource = RCC_PLLSOURCE_HSE;
  RCC_OscInitStruct.PLL.PLLM = 8;
  RCC_OscInitStruct.PLL.PLLN = 336;
  RCC_OscInitStruct.PLL.PLLP = RCC_PLLP_DIV2;
  RCC_OscInitStruct.PLL.PLLQ = 7;
  if (HAL_RCC_OscConfig(&RCC_OscInitStruct) != HAL_OK)
  {
    Error_Handler();
  }

  /** Initializes the CPU, AHB and APB buses clocks
  */
  RCC_ClkInitStruct.ClockType = RCC_CLOCKTYPE_HCLK|RCC_CLOCKTYPE_SYSCLK
                              |RCC_CLOCKTYPE_PCLK1|RCC_CLOCKTYPE_PCLK2;
  RCC_ClkInitStruct.SYSCLKSource = RCC_SYSCLKSOURCE_PLLCLK;
  RCC_ClkInitStruct.AHBCLKDivider = RCC_SYSCLK_DIV1;
  RCC_ClkInitStruct.APB1CLKDivider = RCC_HCLK_DIV4;
  RCC_ClkInitStruct.APB2CLKDivider = RCC_HCLK_DIV2;

  if (HAL_RCC_ClockConfig(&RCC_ClkInitStruct, FLASH_LATENCY_5) != HAL_OK)
  {
    Error_Handler();
  }
}

static void MX_CAN1_Init(void)
{

  hcan1.Instance = CAN1;
  hcan1.Init.Prescaler = 6;
  hcan1.Init.Mode = CAN_MODE_NORMAL;
  hcan1.Init.SyncJumpWidth = CAN_SJW_1TQ;
  hcan1.Init.TimeSeg1 = CAN_BS1_12TQ;
  hcan1.Init.TimeSeg2 = CAN_BS2_1TQ;
  hcan1.Init.TimeTriggeredMode = DISABLE;
  hcan1.Init.AutoBusOff = DISABLE;
  hcan1.Init.AutoWakeUp = DISABLE;
  hcan1.Init.AutoRetransmission = DISABLE;
  hcan1.Init.ReceiveFifoLocked = DISABLE;
  hcan1.Init.TransmitFifoPriority = DISABLE;
  if (HAL_CAN_Init(&hcan1) != HAL_OK)
  {
    Error_Handler();
  }

}

static void MX_TIM1_Init(void)
{

  TIM_Encoder_InitTypeDef sConfig = {0};
  TIM_MasterConfigTypeDef sMasterConfig = {0};

  htim1.Instance = TIM1;
  htim1.Init.Prescaler = 0;
  htim1.Init.CounterMode = TIM_COUNTERMODE_UP;
  htim1.Init.Period = 65535;
  htim1.Init.ClockDivision = TIM_CLOCKDIVISION_DIV1;
  htim1.Init.RepetitionCounter = 0;
  htim1.Init.AutoReloadPreload = TIM_AUTORELOAD_PRELOAD_DISABLE;
  sConfig.EncoderMode = TIM_ENCODERMODE_TI12;
  sConfig.IC1Polarity = TIM_ICPOLARITY_RISING;
  sConfig.IC1Selection = TIM_ICSELECTION_DIRECTTI;
  sConfig.IC1Prescaler = TIM_ICPSC_DIV1;
  sConfig.IC1Filter = 0;
  sConfig.IC2Polarity = TIM_ICPOLARITY_RISING;
  sConfig.IC2Selection = TIM_ICSELECTION_DIRECTTI;
  sConfig.IC2Prescaler = TIM_ICPSC_DIV1;
  sConfig.IC2Filter = 0;
  if (HAL_TIM_Encoder_Init(&htim1, &sConfig) != HAL_OK)
  {
    Error_Handler();
  }
  sMasterConfig.MasterOutputTrigger = TIM_TRGO_RESET;
  sMasterConfig.MasterSlaveMode = TIM_MASTERSLAVEMODE_DISABLE;
  if (HAL_TIMEx_MasterConfigSynchronization(&htim1, &sMasterConfig) != HAL_OK)
  {
    Error_Handler();
  }

}

static void MX_TIM2_Init(void)
{

  TIM_Encoder_InitTypeDef sConfig = {0};
  TIM_MasterConfigTypeDef sMasterConfig = {0};

  htim2.Instance = TIM2;
  htim2.Init.Prescaler = 0;
  htim2.Init.CounterMode = TIM_COUNTERMODE_UP;
  htim2.Init.Period = 4294967295;
  htim2.Init.ClockDivision = TIM_CLOCKDIVISION_DIV1;
  htim2.Init.AutoReloadPreload = TIM_AUTORELOAD_PRELOAD_DISABLE;
  sConfig.EncoderMode = TIM_ENCODERMODE_TI12;
  sConfig.IC1Polarity = TIM_ICPOLARITY_RISING;
  sConfig.IC1Selection = TIM_ICSELECTION_DIRECTTI;
  sConfig.IC1Prescaler = TIM_ICPSC_DIV1;
  sConfig.IC1Filter = 0;
  sConfig.IC2Polarity = TIM_ICPOLARITY_RISING;
  sConfig.IC2Selection = TIM_ICSELECTION_DIRECTTI;
  sConfig.IC2Prescaler = TIM_ICPSC_DIV1;
  sConfig.IC2Filter = 0;
  if (HAL_TIM_Encoder_Init(&htim2, &sConfig) != HAL_OK)
  {
    Error_Handler();
  }
  sMasterConfig.MasterOutputTrigger = TIM_TRGO_RESET;
  sMasterConfig.MasterSlaveMode = TIM_MASTERSLAVEMODE_DISABLE;
  if (HAL_TIMEx_MasterConfigSynchronization(&htim2, &sMasterConfig) != HAL_OK)
  {
    Error_Handler();
  }

}

static void MX_TIM3_Init(void)
{

  TIM_Encoder_InitTypeDef sConfig = {0};
  TIM_MasterConfigTypeDef sMasterConfig = {0};

  htim3.Instance = TIM3;
  htim3.Init.Prescaler = 0;
  htim3.Init.CounterMode = TIM_COUNTERMODE_UP;
  htim3.Init.Period = 65535;
  htim3.Init.ClockDivision = TIM_CLOCKDIVISION_DIV1;
  htim3.Init.AutoReloadPreload = TIM_AUTORELOAD_PRELOAD_DISABLE;
  sConfig.EncoderMode = TIM_ENCODERMODE_TI12;
  sConfig.IC1Polarity = TIM_ICPOLARITY_RISING;
  sConfig.IC1Selection = TIM_ICSELECTION_DIRECTTI;
  sConfig.IC1Prescaler = TIM_ICPSC_DIV1;
  sConfig.IC1Filter = 0;
  sConfig.IC2Polarity = TIM_ICPOLARITY_RISING;
  sConfig.IC2Selection = TIM_ICSELECTION_DIRECTTI;
  sConfig.IC2Prescaler = TIM_ICPSC_DIV1;
  sConfig.IC2Filter = 0;
  if (HAL_TIM_Encoder_Init(&htim3, &sConfig) != HAL_OK)
  {
    Error_Handler();
  }
  sMasterConfig.MasterOutputTrigger = TIM_TRGO_RESET;
  sMasterConfig.MasterSlaveMode = TIM_MASTERSLAVEMODE_DISABLE;
  if (HAL_TIMEx_MasterConfigSynchronization(&htim3, &sMasterConfig) != HAL_OK)
  {
    Error_Handler();
  }

}

static void MX_TIM4_Init(void)
{

  TIM_Encoder_InitTypeDef sConfig = {0};
  TIM_MasterConfigTypeDef sMasterConfig = {0};

  htim4.Instance = TIM4;
  htim4.Init.Prescaler = 0;
  htim4.Init.CounterMode = TIM_COUNTERMODE_UP;
  htim4.Init.Period = 65535;
  htim4.Init.ClockDivision = TIM_CLOCKDIVISION_DIV1;
  htim4.Init.AutoReloadPreload = TIM_AUTORELOAD_PRELOAD_DISABLE;
  sConfig.EncoderMode = TIM_ENCODERMODE_TI12;
  sConfig.IC1Polarity = TIM_ICPOLARITY_RISING;
  sConfig.IC1Selection = TIM_ICSELECTION_DIRECTTI;
  sConfig.IC1Prescaler = TIM_ICPSC_DIV1;
  sConfig.IC1Filter = 0;
  sConfig.IC2Polarity = TIM_ICPOLARITY_RISING;
  sConfig.IC2Selection = TIM_ICSELECTION_DIRECTTI;
  sConfig.IC2Prescaler = TIM_ICPSC_DIV1;
  sConfig.IC2Filter = 0;
  if (HAL_TIM_Encoder_Init(&htim4, &sConfig) != HAL_OK)
  {
    Error_Handler();
  }
  sMasterConfig.MasterOutputTrigger = TIM_TRGO_RESET;
  sMasterConfig.MasterSlaveMode = TIM_MASTERSLAVEMODE_DISABLE;
  if (HAL_TIMEx_MasterConfigSynchronization(&htim4, &sMasterConfig) != HAL_OK)
  {
    Error_Handler();
  }

}

static void MX_TIM5_Init(void)
{

  TIM_MasterConfigTypeDef sMasterConfig = {0};
  TIM_OC_InitTypeDef sConfigOC = {0};

  htim5.Instance = TIM5;
  htim5.Init.Prescaler = 83;
  htim5.Init.CounterMode = TIM_COUNTERMODE_UP;
  htim5.Init.Period = 19999;  // FIXED: Changed from 4294967295 to 19999 for 50Hz
  htim5.Init.ClockDivision = TIM_CLOCKDIVISION_DIV1;
  htim5.Init.AutoReloadPreload = TIM_AUTORELOAD_PRELOAD_DISABLE;
  if (HAL_TIM_PWM_Init(&htim5) != HAL_OK)
  {
    Error_Handler();
  }
  sMasterConfig.MasterOutputTrigger = TIM_TRGO_RESET;
  sMasterConfig.MasterSlaveMode = TIM_MASTERSLAVEMODE_DISABLE;
  if (HAL_TIMEx_MasterConfigSynchronization(&htim5, &sMasterConfig) != HAL_OK)
  {
    Error_Handler();
  }
  sConfigOC.OCMode = TIM_OCMODE_PWM1;
  sConfigOC.Pulse = 1500;  // Default to neutral position
  sConfigOC.OCPolarity = TIM_OCPOLARITY_HIGH;
  sConfigOC.OCFastMode = TIM_OCFAST_DISABLE;
  if (HAL_TIM_PWM_ConfigChannel(&htim5, &sConfigOC, TIM_CHANNEL_1) != HAL_OK)
  {
    Error_Handler();
  }
  if (HAL_TIM_PWM_ConfigChannel(&htim5, &sConfigOC, TIM_CHANNEL_3) != HAL_OK)
  {
    Error_Handler();
  }
  if (HAL_TIM_PWM_ConfigChannel(&htim5, &sConfigOC, TIM_CHANNEL_4) != HAL_OK)
  {
    Error_Handler();
  }
  HAL_TIM_MspPostInit(&htim5);

}

static void MX_TIM8_Init(void)
{

  TIM_Encoder_InitTypeDef sConfig = {0};
  TIM_MasterConfigTypeDef sMasterConfig = {0};

  htim8.Instance = TIM8;
  htim8.Init.Prescaler = 0;
  htim8.Init.CounterMode = TIM_COUNTERMODE_UP;
  htim8.Init.Period = 65535;
  htim8.Init.ClockDivision = TIM_CLOCKDIVISION_DIV1;
  htim8.Init.RepetitionCounter = 0;
  htim8.Init.AutoReloadPreload = TIM_AUTORELOAD_PRELOAD_DISABLE;
  sConfig.EncoderMode = TIM_ENCODERMODE_TI12;
  sConfig.IC1Polarity = TIM_ICPOLARITY_RISING;
  sConfig.IC1Selection = TIM_ICSELECTION_DIRECTTI;
  sConfig.IC1Prescaler = TIM_ICPSC_DIV1;
  sConfig.IC1Filter = 0;
  sConfig.IC2Polarity = TIM_ICPOLARITY_RISING;
  sConfig.IC2Selection = TIM_ICSELECTION_DIRECTTI;
  sConfig.IC2Prescaler = TIM_ICPSC_DIV1;
  sConfig.IC2Filter = 0;
  if (HAL_TIM_Encoder_Init(&htim8, &sConfig) != HAL_OK)
  {
    Error_Handler();
  }
  sMasterConfig.MasterOutputTrigger = TIM_TRGO_RESET;
  sMasterConfig.MasterSlaveMode = TIM_MASTERSLAVEMODE_DISABLE;
  if (HAL_TIMEx_MasterConfigSynchronization(&htim8, &sMasterConfig) != HAL_OK)
  {
    Error_Handler();
  }

}

static void MX_TIM9_Init(void)
{

  TIM_OC_InitTypeDef sConfigOC = {0};

  htim9.Instance = TIM9;
  htim9.Init.Prescaler = 3;
  htim9.Init.CounterMode = TIM_COUNTERMODE_UP;
  htim9.Init.Period = 1049;
  htim9.Init.ClockDivision = TIM_CLOCKDIVISION_DIV1;
  htim9.Init.AutoReloadPreload = TIM_AUTORELOAD_PRELOAD_DISABLE;
  if (HAL_TIM_PWM_Init(&htim9) != HAL_OK)
  {
    Error_Handler();
  }
  sConfigOC.OCMode = TIM_OCMODE_PWM1;
  sConfigOC.Pulse = 0;
  sConfigOC.OCPolarity = TIM_OCPOLARITY_HIGH;
  sConfigOC.OCFastMode = TIM_OCFAST_DISABLE;
  if (HAL_TIM_PWM_ConfigChannel(&htim9, &sConfigOC, TIM_CHANNEL_1) != HAL_OK)
  {
    Error_Handler();
  }
  if (HAL_TIM_PWM_ConfigChannel(&htim9, &sConfigOC, TIM_CHANNEL_2) != HAL_OK)
  {
    Error_Handler();
  }
  HAL_TIM_MspPostInit(&htim9);

}

static void MX_TIM11_Init(void)
{

  TIM_OC_InitTypeDef sConfigOC = {0};

  htim11.Instance = TIM11;
  htim11.Init.Prescaler = 83;
  htim11.Init.CounterMode = TIM_COUNTERMODE_UP;
  htim11.Init.Period = 999;
  htim11.Init.ClockDivision = TIM_CLOCKDIVISION_DIV1;
  htim11.Init.AutoReloadPreload = TIM_AUTORELOAD_PRELOAD_ENABLE;
  if (HAL_TIM_Base_Init(&htim11) != HAL_OK)
  {
    Error_Handler();
  }
  if (HAL_TIM_PWM_Init(&htim11) != HAL_OK)
  {
    Error_Handler();
  }
  sConfigOC.OCMode = TIM_OCMODE_PWM1;
  sConfigOC.Pulse = 500;
  sConfigOC.OCPolarity = TIM_OCPOLARITY_HIGH;
  sConfigOC.OCFastMode = TIM_OCFAST_DISABLE;
  if (HAL_TIM_PWM_ConfigChannel(&htim11, &sConfigOC, TIM_CHANNEL_1) != HAL_OK)
  {
    Error_Handler();
  }
  HAL_TIM_MspPostInit(&htim11);

}

static void MX_GPIO_Init(void)
{
  GPIO_InitTypeDef GPIO_InitStruct = {0};

  /* GPIO Ports Clock Enable */
  __HAL_RCC_GPIOE_CLK_ENABLE();
  __HAL_RCC_GPIOC_CLK_ENABLE();
  __HAL_RCC_GPIOH_CLK_ENABLE();
  __HAL_RCC_GPIOA_CLK_ENABLE();
  __HAL_RCC_GPIOB_CLK_ENABLE();
  __HAL_RCC_GPIOD_CLK_ENABLE();

  /*Configure GPIO pin Output Level */
  HAL_GPIO_WritePin(GPIOE, GPIO_PIN_3, GPIO_PIN_RESET);

  /*Configure GPIO pin Output Level */
  HAL_GPIO_WritePin(GRIMSON_LEFT_DIR_GPIO_O_GPIO_Port, GRIMSON_LEFT_DIR_GPIO_O_Pin, GPIO_PIN_RESET);

  /*Configure GPIO pin Output Level */
  HAL_GPIO_WritePin(GPIOB, GRIMSON_RIGHT_DIR_GPIO_O_Pin|NEMA_DIR_GPIO_O_Pin, GPIO_PIN_RESET);

  /*Configure GPIO pin Output Level */
  HAL_GPIO_WritePin(NEMA_ENABLE_GPIO_O_GPIO_Port, NEMA_ENABLE_GPIO_O_Pin, GPIO_PIN_SET);

  /*Configure GPIO pin Output Level */
  HAL_GPIO_WritePin(GPIOD, LD3_Pin|LD5_Pin|Audio_RST_Pin, GPIO_PIN_RESET);

  /*Configure GPIO pin : PE3 */
  GPIO_InitStruct.Pin = GPIO_PIN_3;
  GPIO_InitStruct.Mode = GPIO_MODE_OUTPUT_PP;
  GPIO_InitStruct.Pull = GPIO_NOPULL;
  GPIO_InitStruct.Speed = GPIO_SPEED_FREQ_LOW;
  HAL_GPIO_Init(GPIOE, &GPIO_InitStruct);

  /*Configure GPIO pins : BASE_HOMING_GPIO_INP_Pin SHOULDER_HOMING_GPIO_INP_Pin ELBOW_HOMING_GPIO_INP_Pin */
  GPIO_InitStruct.Pin = BASE_HOMING_GPIO_INP_Pin|SHOULDER_HOMING_GPIO_INP_Pin|ELBOW_HOMING_GPIO_INP_Pin;
  GPIO_InitStruct.Mode = GPIO_MODE_INPUT;
  GPIO_InitStruct.Pull = GPIO_PULLDOWN;
  HAL_GPIO_Init(GPIOC, &GPIO_InitStruct);

  /*Configure GPIO pin : GRIMSON_LEFT_DIR_GPIO_O_Pin */
  GPIO_InitStruct.Pin = GRIMSON_LEFT_DIR_GPIO_O_Pin;
  GPIO_InitStruct.Mode = GPIO_MODE_OUTPUT_PP;
  GPIO_InitStruct.Pull = GPIO_NOPULL;
  GPIO_InitStruct.Speed = GPIO_SPEED_FREQ_LOW;
  HAL_GPIO_Init(GRIMSON_LEFT_DIR_GPIO_O_GPIO_Port, &GPIO_InitStruct);

  /*Configure GPIO pins : GRIMSON_RIGHT_DIR_GPIO_O_Pin NEMA_ENABLE_GPIO_O_Pin NEMA_DIR_GPIO_O_Pin */
  GPIO_InitStruct.Pin = GRIMSON_RIGHT_DIR_GPIO_O_Pin|NEMA_ENABLE_GPIO_O_Pin|NEMA_DIR_GPIO_O_Pin;
  GPIO_InitStruct.Mode = GPIO_MODE_OUTPUT_PP;
  GPIO_InitStruct.Pull = GPIO_NOPULL;
  GPIO_InitStruct.Speed = GPIO_SPEED_FREQ_LOW;
  HAL_GPIO_Init(GPIOB, &GPIO_InitStruct);

  /*Configure GPIO pins : LD3_Pin LD5_Pin Audio_RST_Pin */
  GPIO_InitStruct.Pin = LD3_Pin|LD5_Pin|Audio_RST_Pin;
  GPIO_InitStruct.Mode = GPIO_MODE_OUTPUT_PP;
  GPIO_InitStruct.Pull = GPIO_NOPULL;
  GPIO_InitStruct.Speed = GPIO_SPEED_FREQ_LOW;
  HAL_GPIO_Init(GPIOD, &GPIO_InitStruct);

  /*Configure GPIO pin : VBUS_FS_Pin */
  GPIO_InitStruct.Pin = VBUS_FS_Pin;
  GPIO_InitStruct.Mode = GPIO_MODE_INPUT;
  GPIO_InitStruct.Pull = GPIO_NOPULL;
  HAL_GPIO_Init(VBUS_FS_GPIO_Port, &GPIO_InitStruct);

  /*Configure GPIO pins : OTG_FS_ID_Pin OTG_FS_DM_Pin OTG_FS_DP_Pin */
  GPIO_InitStruct.Pin = OTG_FS_ID_Pin|OTG_FS_DM_Pin|OTG_FS_DP_Pin;
  GPIO_InitStruct.Mode = GPIO_MODE_AF_PP;
  GPIO_InitStruct.Pull = GPIO_NOPULL;
  GPIO_InitStruct.Speed = GPIO_SPEED_FREQ_LOW;
  GPIO_InitStruct.Alternate = GPIO_AF10_OTG_FS;
  HAL_GPIO_Init(GPIOA, &GPIO_InitStruct);

  /*Configure GPIO pin : OTG_FS_OverCurrent_Pin */
  GPIO_InitStruct.Pin = OTG_FS_OverCurrent_Pin;
  GPIO_InitStruct.Mode = GPIO_MODE_INPUT;
  GPIO_InitStruct.Pull = GPIO_NOPULL;
  HAL_GPIO_Init(OTG_FS_OverCurrent_GPIO_Port, &GPIO_InitStruct);

  /*Configure GPIO pin : Audio_SCL_Pin */
  GPIO_InitStruct.Pin = Audio_SCL_Pin;
  GPIO_InitStruct.Mode = GPIO_MODE_AF_OD;
  GPIO_InitStruct.Pull = GPIO_PULLUP;
  GPIO_InitStruct.Speed = GPIO_SPEED_FREQ_LOW;
  GPIO_InitStruct.Alternate = GPIO_AF4_I2C1;
  HAL_GPIO_Init(Audio_SCL_GPIO_Port, &GPIO_InitStruct);

  /*Configure GPIO pin : MEMS_INT2_Pin */
  GPIO_InitStruct.Pin = MEMS_INT2_Pin;
  GPIO_InitStruct.Mode = GPIO_MODE_EVT_RISING;
  GPIO_InitStruct.Pull = GPIO_NOPULL;
  HAL_GPIO_Init(MEMS_INT2_GPIO_Port, &GPIO_InitStruct);

}

void Error_Handler(void)
{
  /* USER CODE BEGIN Error_Handler_Debug */
  // Disable all motors
  EmergencyStopAllMotors();

  // Disable interrupts
  __disable_irq();

  // Flash error LED rapidly
  while (1) {
    HAL_GPIO_TogglePin(LD5_GPIO_Port, LD5_Pin);
    HAL_Delay(100);
  }
  /* USER CODE END Error_Handler_Debug */
}
